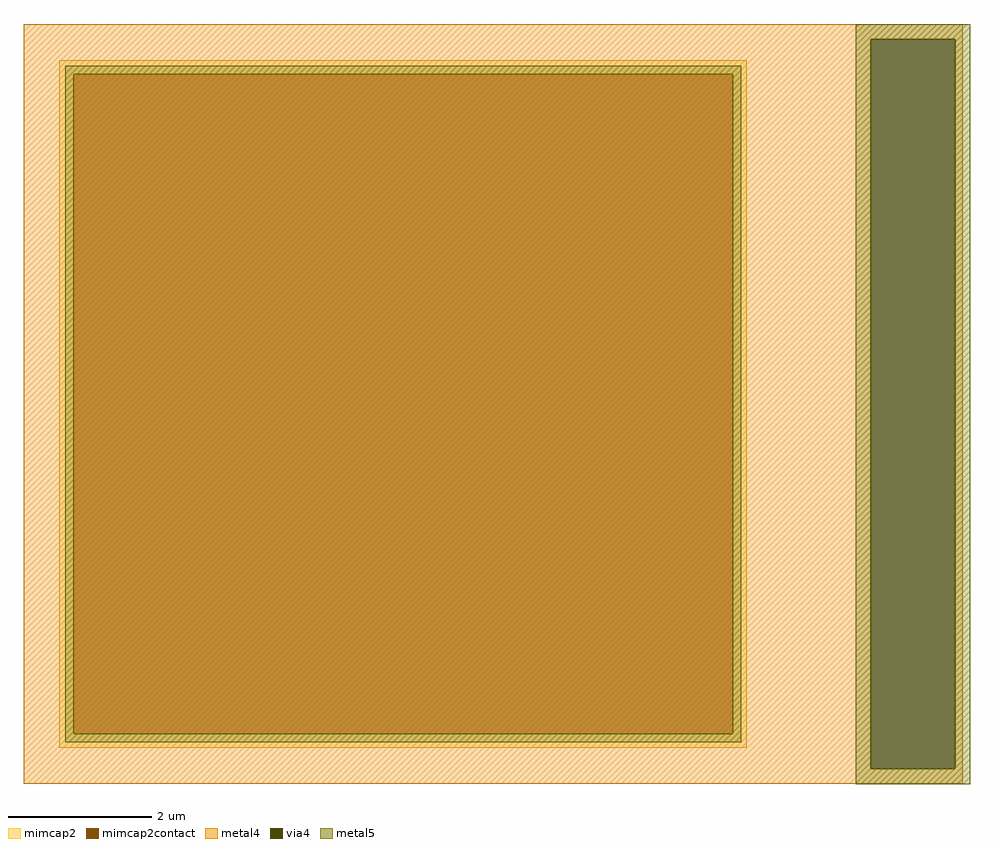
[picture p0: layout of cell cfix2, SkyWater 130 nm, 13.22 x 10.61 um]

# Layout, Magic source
magic
tech sky130A
magscale 1 2
<< metal4 >>
rect -1311 1019 1311 1060
rect -1311 -1019 1055 1019
rect 1291 -1019 1311 1019
rect -1311 -1060 1311 -1019
<< via4 >>
rect 1055 -1019 1291 1019
<< mimcap2 >>
rect -1211 920 709 960
rect -1211 -920 -1171 920
rect 669 -920 709 920
rect -1211 -960 709 -920
<< mimcap2contact >>
rect -1171 -920 669 920
<< metal5 >>
rect 1013 1019 1333 1061
rect -1195 920 693 944
rect -1195 -920 -1171 920
rect 669 -920 693 920
rect -1195 -944 693 -920
rect 1013 -1019 1055 1019
rect 1291 -1019 1333 1019
rect 1013 -1061 1333 -1019
<< properties >>
string FIXED_BBOX -1311 -1060 809 1060
<< end >>
